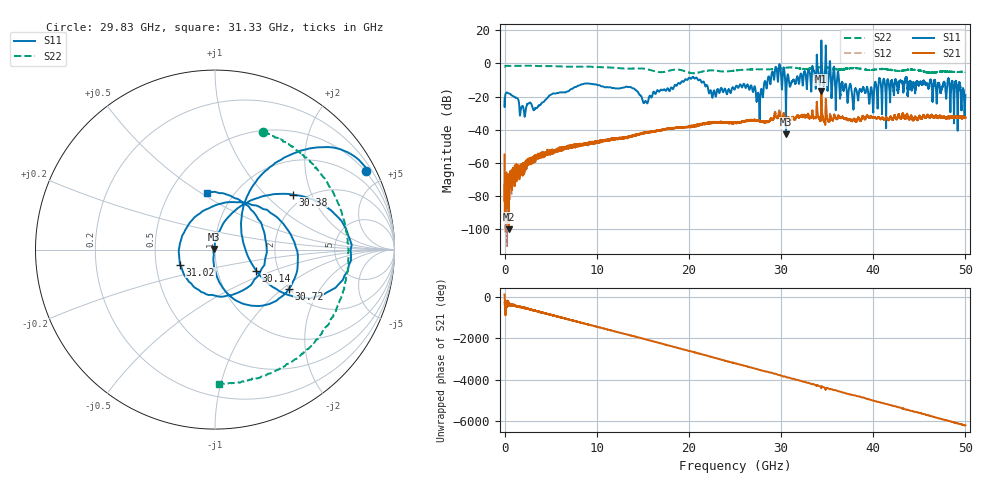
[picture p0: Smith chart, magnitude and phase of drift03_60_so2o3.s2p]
!Created with skrf (http://scikit-rf.org).
# Hz S RI R 50.0
!freq ReS11 ImS11 ReS21 ImS21 ReS12 ImS12 ReS22 ImS22
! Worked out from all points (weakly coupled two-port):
!   10001 points, 300 kHz to 50 GHz, reference 50 ohm
!   highest |S21| = -16.70 dB at 34.37 GHz (marker M1); lowest = -100.0 dB at 440.3 MHz (marker M2)
!   lowest |S11| = -42.7 dB at 30.53 GHz (marker M3), VSWR 1.01, Z = 49.3 + j0.318 ohm
!   |S11| at or under -10 dB: start of sweep to 19.56 GHz; 21.25 GHz to 28.55 GHz (7.297 GHz wide, 29.3 % of centre); 36.28 GHz to 40.62 GHz (4.337 GHz wide, 11.3 % of centre) (the widest 3 of 40)
!   |S22| runs from -5.9 to -1.3 dB; largest |S21 - S12| = 0.026
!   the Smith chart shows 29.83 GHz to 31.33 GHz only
!   S11 on the Smith chart (normalised r, x): 29.83 GHz: 0.45, +4.06; 30.14 GHz: 1.54, -0.39; 30.38 GHz: 1.73, +1.47; 30.72 GHz: 1.97, -1.11; 31.02 GHz: 0.67, -0.12; 31.33 GHz: 0.76, +0.54
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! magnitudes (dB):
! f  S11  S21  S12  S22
! 300 kHz  -21.3  -54.9  -56.1  -2.1
! 440.3 MHz  -18.0  -100.0  -75.1  -1.5
! 3.3 GHz  -27.3  -57.9  -57.2  -1.5
! 8.335 GHz  -12.7  -49.2  -49.1  -1.9
! 15.29 GHz  -22.8  -41.7  -41.9  -3.3
! 16.67 GHz  -16.5  -40.6  -40.6  -5.2
! 20.26 GHz  -9.2  -38.0  -38.5  -5.8
! 22.71 GHz  -16.4  -35.7  -35.7  -4.2
! 25 GHz  -15.3  -35.9  -35.7  -4.3
! 27.53 GHz  -17.8  -34.8  -34.5  -3.5
! 29.83 GHz  -0.4  -29.3  -28.7  -3.0
! 30.14 GHz  -11.7  -33.4  -33.6  -2.8
! 30.38 GHz  -5.5  -32.0  -32.4  -2.6
! 30.53 GHz  -42.7  -34.1  -34.2  -2.5
! 30.72 GHz  -6.6  -32.9  -32.8  -2.5
! 31.02 GHz  -13.5  -34.4  -34.3  -2.4
! 31.33 GHz  -9.9  -32.4  -32.5  -2.5
! 33.34 GHz  -7.5  -31.3  -31.2  -2.9
! 34.37 GHz  13.9  -16.7  -17.9  -2.3
! 37.86 GHz  -27.8  -33.8  -34.0  -2.8
! 41.67 GHz  -11.5  -34.1  -34.0  -3.7
! 50 GHz  -19.0  -33.0  -32.7  -5.0
